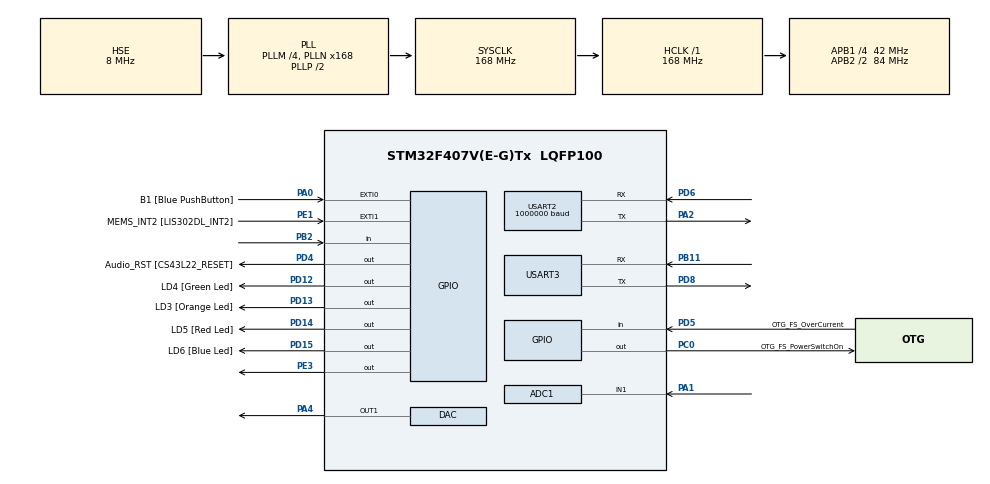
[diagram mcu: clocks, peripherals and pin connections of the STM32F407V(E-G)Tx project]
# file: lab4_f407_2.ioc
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ADC1.Channel-3\#ChannelRegularConversion=ADC_CHANNEL_1
ADC1.ClockPrescaler=ADC_CLOCK_SYNC_PCLK_DIV4
ADC1.ContinuousConvMode=ENABLE
ADC1.DMAContinuousRequests=ENABLE
ADC1.NbrOfConversionFlag=1
ADC1.Rank-3\#ChannelRegularConversion=1
ADC1.Resolution=ADC_RESOLUTION_12B
ADC1.SamplingTime-3\#ChannelRegularConversion=ADC_SAMPLETIME_3CYCLES
ADC1.ScanConvMode=DISABLE
ADC1.master=1
DAC.DAC_Trigger=DAC_TRIGGER_T2_TRGO
Dma.ADC1.2.Direction=DMA_PERIPH_TO_MEMORY
Dma.ADC1.2.FIFOMode=DMA_FIFOMODE_DISABLE
Dma.ADC1.2.Instance=DMA2_Stream0
Dma.ADC1.2.MemDataAlignment=DMA_MDATAALIGN_HALFWORD
Dma.ADC1.2.MemInc=DMA_MINC_ENABLE
Dma.ADC1.2.Mode=DMA_CIRCULAR
Dma.ADC1.2.PeriphDataAlignment=DMA_PDATAALIGN_HALFWORD
Dma.ADC1.2.PeriphInc=DMA_PINC_DISABLE
Dma.ADC1.2.Priority=DMA_PRIORITY_LOW
Dma.DAC1.0.Direction=DMA_MEMORY_TO_PERIPH
Dma.DAC1.0.FIFOMode=DMA_FIFOMODE_DISABLE
Dma.DAC1.0.Instance=DMA1_Stream5
Dma.DAC1.0.MemDataAlignment=DMA_MDATAALIGN_WORD
Dma.DAC1.0.MemInc=DMA_MINC_ENABLE
Dma.DAC1.0.Mode=DMA_CIRCULAR
Dma.DAC1.0.PeriphDataAlignment=DMA_PDATAALIGN_WORD
Dma.DAC1.0.PeriphInc=DMA_PINC_DISABLE
Dma.DAC1.0.Priority=DMA_PRIORITY_HIGH
Dma.Request0=DAC1
Dma.Request1=USART2_TX
Dma.Request2=ADC1
Dma.USART2_TX.1.Direction=DMA_MEMORY_TO_PERIPH
Dma.USART2_TX.1.FIFOMode=DMA_FIFOMODE_DISABLE
Dma.USART2_TX.1.Instance=DMA1_Stream6
Dma.USART2_TX.1.MemDataAlignment=DMA_MDATAALIGN_BYTE
Dma.USART2_TX.1.MemInc=DMA_MINC_ENABLE
Dma.USART2_TX.1.Mode=DMA_CIRCULAR
Dma.USART2_TX.1.PeriphDataAlignment=DMA_PDATAALIGN_BYTE
Dma.USART2_TX.1.PeriphInc=DMA_PINC_DISABLE
Dma.USART2_TX.1.Priority=DMA_PRIORITY_LOW
Mcu.Family=STM32F4
Mcu.Name=STM32F407V(E-G)Tx
Mcu.Package=LQFP100
NVIC.DMA1_Stream5_IRQn=true\:0\:0\:false\:false\:true\:false\:true\:true
NVIC.DMA1_Stream6_IRQn=true\:0\:0\:false\:false\:true\:false\:true\:true
NVIC.DMA2_Stream0_IRQn=true\:0\:0\:false\:false\:true\:false\:true\:true
NVIC.PriorityGroup=NVIC_PRIORITYGROUP_2
NVIC.USART2_IRQn=true\:0\:0\:false\:false\:true\:true\:true\:true
NVIC.USART3_IRQn=true\:0\:0\:false\:false\:true\:true\:true\:true
PA0-WKUP.GPIO_Label=B1 [Blue PushButton]
PA0-WKUP.GPIO_ModeDefaultEXTI=GPIO_MODE_EVT_RISING
PA0-WKUP.GPIO_PuPd=GPIO_NOPULL
PA0-WKUP.Signal=GPXTI0
PA1.Signal=ADCx_IN1
PA10.GPIO_Label=OTG_FS_ID
PA10.GPIO_Mode=GPIO_MODE_AF_PP
PA10.GPIO_PuPd=GPIO_NOPULL
PA10.GPIO_Speed=GPIO_SPEED_FREQ_LOW
PA10.Signal=USB_OTG_FS_ID
PA11.GPIO_Label=OTG_FS_DM
PA11.GPIO_Mode=GPIO_MODE_AF_PP
PA11.GPIO_PuPd=GPIO_NOPULL
PA11.GPIO_Speed=GPIO_SPEED_FREQ_LOW
PA11.Signal=USB_OTG_FS_DM
PA12.GPIO_Label=OTG_FS_DP
PA12.GPIO_Mode=GPIO_MODE_AF_PP
PA12.GPIO_PuPd=GPIO_NOPULL
PA12.GPIO_Speed=GPIO_SPEED_FREQ_LOW
PA12.Signal=USB_OTG_FS_DP
PA13.GPIO_Label=SWDIO
PA13.Mode=Serial_Wire
PA13.Signal=SYS_JTMS-SWDIO
PA14.GPIO_Label=SWCLK
PA14.Mode=Serial_Wire
PA14.Signal=SYS_JTCK-SWCLK
PA2.Mode=Asynchronous
PA2.Signal=USART2_TX
PA4.Signal=COMP_DAC1_group
PA9.GPIO_Label=VBUS_FS
PA9.GPIO_Mode=GPIO_MODE_INPUT
PA9.GPIO_PuPd=GPIO_NOPULL
PA9.Signal=USB_OTG_FS_VBUS
PB10.GPIO_Label=CLK_IN [MP45DT02_CLK]
PB10.GPIO_Mode=GPIO_MODE_AF_PP
PB10.GPIO_PuPd=GPIO_NOPULL
PB10.GPIO_Speed=GPIO_SPEED_FREQ_LOW
PB10.Signal=I2S2_CK
PB11.Mode=Asynchronous
PB11.Signal=USART3_RX
PB2.Signal=GPIO_Input
PB3.GPIO_Label=SWO
PB3.Signal=SYS_JTDO-SWO
PB6.GPIO_Label=Audio_SCL [CS43L22_SCL]
PB6.GPIO_Mode=GPIO_MODE_AF_OD
PB6.GPIO_Pu=GPIO_PULLUP
PB6.GPIO_PuPd=GPIO_NOPULL
PB6.GPIO_Speed=GPIO_SPEED_FREQ_LOW
PB6.Signal=I2C1_SCL
PB9.GPIO_Label=Audio_SDA [CS43L22_SDA]
PB9.GPIO_Mode=GPIO_MODE_AF_OD
PB9.GPIO_Pu=GPIO_PULLUP
PB9.GPIO_PuPd=GPIO_NOPULL
PB9.GPIO_Speed=GPIO_SPEED_FREQ_LOW
PB9.Signal=I2C1_SDA
PC0.GPIO_Label=OTG_FS_PowerSwitchOn
PC0.GPIO_PuPd=GPIO_NOPULL
PC0.GPIO_Speed=GPIO_SPEED_FREQ_LOW
PC0.PinState=GPIO_PIN_SET
PC0.Signal=GPIO_Output
PC10.GPIO_Label=I2S3_SCK [CS43L22_SCLK]
PC10.GPIO_Mode=GPIO_MODE_AF_PP
PC10.GPIO_PuPd=GPIO_NOPULL
PC10.GPIO_Speed=GPIO_SPEED_FREQ_LOW
PC10.Signal=I2S3_CK
PC12.GPIO_Label=I2S3_SD [CS43L22_SDIN]
PC12.GPIO_Mode=GPIO_MODE_AF_PP
PC12.GPIO_PuPd=GPIO_NOPULL
PC12.GPIO_Speed=GPIO_SPEED_FREQ_LOW
PC12.Signal=I2S3_SD
PC14-OSC32_IN.GPIO_Label=PC14-OSC32_IN
PC14-OSC32_IN.Mode=LSE-External-Oscillator
PC14-OSC32_IN.Signal=RCC_OSC32_IN
PC15-OSC32_OUT.GPIO_Label=PC15-OSC32_OUT
PC15-OSC32_OUT.Mode=LSE-External-Oscillator
PC15-OSC32_OUT.Signal=RCC_OSC32_OUT
PC3.GPIO_Label=PDM_OUT [MP45DT02_DOUT]
PC3.GPIO_Mode=GPIO_MODE_AF_PP
PC3.GPIO_PuPd=GPIO_NOPULL
PC3.GPIO_Speed=GPIO_SPEED_FREQ_LOW
PC3.Signal=I2S2_SD
PC7.GPIO_Label=I2S3_MCK [CS43L22_MCLK]
PC7.GPIO_Mode=GPIO_MODE_AF_PP
PC7.GPIO_PuPd=GPIO_NOPULL
PC7.GPIO_Speed=GPIO_SPEED_FREQ_LOW
PC7.Signal=I2S3_MCK
PD12.GPIO_Label=LD4 [Green Led]
PD12.GPIO_PuPd=GPIO_NOPULL
PD12.GPIO_Speed=GPIO_SPEED_FREQ_LOW
PD12.Signal=GPIO_Output
PD13.GPIO_Label=LD3 [Orange Led]
PD13.GPIO_PuPd=GPIO_NOPULL
PD13.GPIO_Speed=GPIO_SPEED_FREQ_LOW
PD13.Signal=GPIO_Output
PD14.GPIO_Label=LD5 [Red Led]
PD14.GPIO_PuPd=GPIO_NOPULL
PD14.GPIO_Speed=GPIO_SPEED_FREQ_LOW
PD14.Signal=GPIO_Output
PD15.GPIO_Label=LD6 [Blue Led]
PD15.GPIO_PuPd=GPIO_NOPULL
PD15.GPIO_Speed=GPIO_SPEED_FREQ_LOW
PD15.Signal=GPIO_Output
PD4.GPIO_Label=Audio_RST [CS43L22_RESET]
PD4.GPIO_PuPd=GPIO_NOPULL
PD4.GPIO_Speed=GPIO_SPEED_FREQ_LOW
PD4.Signal=GPIO_Output
PD5.GPIO_Label=OTG_FS_OverCurrent
PD5.GPIO_Mode=GPIO_MODE_INPUT
PD5.GPIO_PuPd=GPIO_NOPULL
PD5.Signal=GPIO_Input
PD6.Mode=Asynchronous
PD6.Signal=USART2_RX
PD8.Mode=Asynchronous
PD8.Signal=USART3_TX
PE1.GPIO_Label=MEMS_INT2 [LIS302DL_INT2]
PE1.GPIO_ModeDefaultEXTI=GPIO_MODE_EVT_RISING
PE1.GPIO_PuPd=GPIO_NOPULL
PE1.Signal=GPXTI1
PE3.Signal=GPIO_Output
PH0-OSC_IN.GPIO_Label=PH0-OSC_IN
PH0-OSC_IN.Mode=HSE-External-Oscillator
PH0-OSC_IN.Signal=RCC_OSC_IN
PH1-OSC_OUT.GPIO_Label=PH1-OSC_OUT
PH1-OSC_OUT.Mode=HSE-External-Oscillator
PH1-OSC_OUT.Signal=RCC_OSC_OUT
ProjectManager.HeapSize=0x200
ProjectManager.StackSize=0x400
ProjectManager.TargetToolchain=STM32CubeIDE
RCC.48MHZClocksFreq_Value=48000000
RCC.AHBFreq_Value=168000000
RCC.APB1CLKDivider=RCC_HCLK_DIV4
RCC.APB1Freq_Value=42000000
RCC.APB1TimFreq_Value=84000000
RCC.APB2CLKDivider=RCC_HCLK_DIV2
RCC.APB2Freq_Value=84000000
RCC.APB2TimFreq_Value=168000000
RCC.CortexFreq_Value=168000000
RCC.HCLKFreq_Value=168000000
RCC.HSE_VALUE=8000000
RCC.HSI_VALUE=16000000
RCC.PLLM=4
RCC.PLLN=168
RCC.PLLQ=7
RCC.PLLSourceVirtual=RCC_PLLSOURCE_HSE
RCC.SYSCLKFreq_VALUE=168000000
RCC.SYSCLKSource=RCC_SYSCLKSOURCE_PLLCLK
RCC.VCOOutputFreq_Value=336000000
SH.ADCx_IN1.0=ADC2_IN1
SH.ADCx_IN1.1=ADC1_IN1,IN1
SH.COMP_DAC1_group.0=DAC_OUT1,DAC_OUT1
TIM2.Period=100-1
TIM2.Prescaler=84-1
TIM2.TIM_MasterOutputTrigger=TIM_TRGO_UPDATE
USART2.BaudRate=1000000
USART2.Parity=PARITY_NONE
USART2.VirtualMode=VM_ASYNC
USART3.VirtualMode=VM_ASYNC
VP_TIM2_VS_ClockSourceINT.Mode=Internal
board=STM32F407G-DISC1

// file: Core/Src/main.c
/* USER CODE BEGIN Header */
/**
  ******************************************************************************
  * @file           : main.c
  * @brief          : Main program body
  ******************************************************************************
  * @attention
  *
  * Copyright (c) 2024 STMicroelectronics.
  * All rights reserved.
  *
  * This software is licensed under terms that can be found in the LICENSE file
  * in the root directory of this software component.
  * If no LICENSE file comes with this software, it is provided AS-IS.
  *
  ******************************************************************************
  */
/* USER CODE END Header */
#include "main.h"

/* USER CODE BEGIN Includes */
#include "math.h"
#include "string.h"
#include "stdio.h"
#include "protocol.h"
/* USER CODE END Includes */

/* USER CODE BEGIN PD */
#define SINE_N_SAMPLE 100
#define FIXED_POINT_FRACTIONAL_BITS 8
#define ADC_BUF_LEN 100
#define TIMER_TRIG_FREQ  1000000
/* USER CODE END PD */

 ADC_HandleTypeDef hadc1;
DMA_HandleTypeDef hdma_adc1;

DAC_HandleTypeDef hdac;
DMA_HandleTypeDef hdma_dac1;

TIM_HandleTypeDef htim2;

UART_HandleTypeDef huart2;
UART_HandleTypeDef huart3;
DMA_HandleTypeDef hdma_usart2_tx;

/* USER CODE BEGIN PV */
uint32_t y_sine_digital[SINE_N_SAMPLE];
uint16_t sine_table[SINE_N_SAMPLE];
char* msg = "Lorem ipsum dolor sit amet, consectetur adipiscing elit. Pellentesque dictum tempor ex ut luctus. Curabitur vel placerat nulla. Phasellus mattis dolor eget semper venenatis. Pellentesque semper porttitor justo, at rhoncus orci sollicitudin vitae. Maecenas porttitor ante sed turpis lacinia eleifend. Nulla molestie mauris id urna aliquam fringilla. Sed scelerisque dignissim finibus. In hac habitasse platea dictumst. Donec ac quam at velit luctus malesuada eget vel nisi. Sed eget ante eleifend, scelerisque leo id, tincidunt leo. Mauris blandit interdum pretium. Aliquam egestas risus id nisl finibus malesuada. Praesent sed pellentesque ipsum.\r\n";
uint16_t adc_buf[ADC_BUF_LEN];
/* USER CODE END PV */

void SystemClock_Config(void);
static void MX_GPIO_Init(void);
static void MX_DMA_Init(void);
static void MX_DAC_Init(void);
static void MX_TIM2_Init(void);
static void MX_ADC1_Init(void);
static void MX_USART2_UART_Init(void);
static void MX_USART3_UART_Init(void);
/* USER CODE BEGIN PFP */
void DMA_TransferComplete(DMA_HandleTypeDef *hdma);
/* USER CODE END PFP */

/* USER CODE BEGIN 0 */
void init_sine_table() {
    for (size_t i = 0; i < SINE_N_SAMPLE; i++) {
        double angle = 2 * M_PI * i / SINE_N_SAMPLE;
        sine_table[i] = (sin(angle) + 1) * (1 << FIXED_POINT_FRACTIONAL_BITS) / 2;
    }
}
void init_y_sine_digital(double V_max) {
    if (V_max > 3.3) V_max = 3.3;
    if (V_max < 0) V_max = 0.0;

    uint16_t V_max_digital = (V_max / 3.3) * 0xFFF;

    for (size_t i = 0; i < SINE_N_SAMPLE; i++) {
        y_sine_digital[i] = (sine_table[i] * V_max_digital) >> FIXED_POINT_FRACTIONAL_BITS;
    }
}

void change_freq(float freq) {
  uint16_t reload_value = TIMER_TRIG_FREQ/(freq*SINE_N_SAMPLE);
  __HAL_TIM_SET_AUTORELOAD(&htim2, reload_value - 1);
  __HAL_TIM_SET_COUNTER(&htim2, 0);
}

// Callback: UART Read 1 byte new
void HAL_UART_RxCpltCallback(UART_HandleTypeDef *huart)
{
  if (huart->Instance == huart3.Instance)
  {
      UART_RX_Callback(huart);
  }
}

/* USER CODE END 0 */

int main(void)
{
  /* USER CODE BEGIN 1 */
  change_freq_ptr = &change_freq;
  change_A_ptr = &init_y_sine_digital;
  /* USER CODE END 1 */

  /* MCU Configuration--------------------------------------------------------*/

  /* Reset of all peripherals, Initializes the Flash interface and the Systick. */
  HAL_Init();

  /* Configure the system clock */
  SystemClock_Config();

  /* Initialize all configured peripherals */
  MX_GPIO_Init();
  MX_DMA_Init();
  MX_DAC_Init();
  MX_TIM2_Init();
  MX_ADC1_Init();
  MX_USART2_UART_Init();
  MX_USART3_UART_Init();
  /* USER CODE BEGIN 2 */

  init_sine_table();
  init_y_sine_digital(3.3);
  change_freq(100);

  __HAL_DMA_GET_COUNTER(&hdma_adc1);

  HAL_DAC_Start_DMA(&hdac, DAC_CHANNEL_1, (uint32_t*)y_sine_digital, SINE_N_SAMPLE, DAC_ALIGN_12B_R);
  HAL_TIM_Base_Start(&htim2);

//  HAL_DMA_RegisterCallback(&hdma_usart2_tx, HAL_DMA_XFER_CPLT_CB_ID,
//			   &DMA_TransferComplete);
  HAL_ADC_Start_DMA(&hadc1, (uint32_t*)adc_buf, ADC_BUF_LEN);

  HAL_UART_Transmit_DMA(&huart2, adc_buf, ADC_BUF_LEN*sizeof(uint16_t));

  HAL_UART_Receive_IT(&huart3, &tmp_rx_data, 1);

  /* USER CODE END 2 */

  /* Infinite loop */
  /* USER CODE BEGIN WHILE */
  while (1)
  {

//    huart2.Instance->CR3 |= USART_CR3_DMAT;
//    HAL_DMA_Start_IT(&hdma_usart2_tx, (uint32_t)msg, (uint32_t)&huart2.Instance->DR, strlen(msg));

//    HAL_UART_Transmit_DMA(&huart2, adc_buf, ADC_BUF_LEN);
//    HAL_Delay(1000);
//    HAL_UART_DMAStop(&huart2);
//    HAL_Delay(1000);
    /* USER CODE END WHILE */

  }
}

void SystemClock_Config(void)
{
  RCC_OscInitTypeDef RCC_OscInitStruct = {0};
  RCC_ClkInitTypeDef RCC_ClkInitStruct = {0};

  /** Configure the main internal regulator output voltage
  */
  __HAL_RCC_PWR_CLK_ENABLE();
  __HAL_PWR_VOLTAGESCALING_CONFIG(PWR_REGULATOR_VOLTAGE_SCALE1);

  /** Initializes the RCC Oscillators according to the specified parameters
  * in the RCC_OscInitTypeDef structure.
  */
  RCC_OscInitStruct.OscillatorType = RCC_OSCILLATORTYPE_HSE;
  RCC_OscInitStruct.HSEState = RCC_HSE_ON;
  RCC_OscInitStruct.PLL.PLLState = RCC_PLL_ON;
  RCC_OscInitStruct.PLL.PLLSource = RCC_PLLSOURCE_HSE;
  RCC_OscInitStruct.PLL.PLLM = 4;
  RCC_OscInitStruct.PLL.PLLN = 168;
  RCC_OscInitStruct.PLL.PLLP = RCC_PLLP_DIV2;
  RCC_OscInitStruct.PLL.PLLQ = 7;
  if (HAL_RCC_OscConfig(&RCC_OscInitStruct) != HAL_OK)
  {
    Error_Handler();
  }

  /** Initializes the CPU, AHB and APB buses clocks
  */
  RCC_ClkInitStruct.ClockType = RCC_CLOCKTYPE_HCLK|RCC_CLOCKTYPE_SYSCLK
                              |RCC_CLOCKTYPE_PCLK1|RCC_CLOCKTYPE_PCLK2;
  RCC_ClkInitStruct.SYSCLKSource = RCC_SYSCLKSOURCE_PLLCLK;
  RCC_ClkInitStruct.AHBCLKDivider = RCC_SYSCLK_DIV1;
  RCC_ClkInitStruct.APB1CLKDivider = RCC_HCLK_DIV4;
  RCC_ClkInitStruct.APB2CLKDivider = RCC_HCLK_DIV2;

  if (HAL_RCC_ClockConfig(&RCC_ClkInitStruct, FLASH_LATENCY_5) != HAL_OK)
  {
    Error_Handler();
  }
}

static void MX_ADC1_Init(void)
{

  ADC_ChannelConfTypeDef sConfig = {0};

  /** Configure the global features of the ADC (Clock, Resolution, Data Alignment and number of conversion)
  */
  hadc1.Instance = ADC1;
  hadc1.Init.ClockPrescaler = ADC_CLOCK_SYNC_PCLK_DIV4;
  hadc1.Init.Resolution = ADC_RESOLUTION_12B;
  hadc1.Init.ScanConvMode = DISABLE;
  hadc1.Init.ContinuousConvMode = ENABLE;
  hadc1.Init.DiscontinuousConvMode = DISABLE;
  hadc1.Init.ExternalTrigConvEdge = ADC_EXTERNALTRIGCONVEDGE_NONE;
  hadc1.Init.ExternalTrigConv = ADC_SOFTWARE_START;
  hadc1.Init.DataAlign = ADC_DATAALIGN_RIGHT;
  hadc1.Init.NbrOfConversion = 1;
  hadc1.Init.DMAContinuousRequests = ENABLE;
  hadc1.Init.EOCSelection = ADC_EOC_SINGLE_CONV;
  if (HAL_ADC_Init(&hadc1) != HAL_OK)
  {
    Error_Handler();
  }

  /** Configure for the selected ADC regular channel its corresponding rank in the sequencer and its sample time.
  */
  sConfig.Channel = ADC_CHANNEL_1;
  sConfig.Rank = 1;
  sConfig.SamplingTime = ADC_SAMPLETIME_3CYCLES;
  if (HAL_ADC_ConfigChannel(&hadc1, &sConfig) != HAL_OK)
  {
    Error_Handler();
  }

}

static void MX_DAC_Init(void)
{

  DAC_ChannelConfTypeDef sConfig = {0};

  /** DAC Initialization
  */
  hdac.Instance = DAC;
  if (HAL_DAC_Init(&hdac) != HAL_OK)
  {
    Error_Handler();
  }

  /** DAC channel OUT1 config
  */
  sConfig.DAC_Trigger = DAC_TRIGGER_T2_TRGO;
  sConfig.DAC_OutputBuffer = DAC_OUTPUTBUFFER_ENABLE;
  if (HAL_DAC_ConfigChannel(&hdac, &sConfig, DAC_CHANNEL_1) != HAL_OK)
  {
    Error_Handler();
  }

}

static void MX_TIM2_Init(void)
{

  TIM_ClockConfigTypeDef sClockSourceConfig = {0};
  TIM_MasterConfigTypeDef sMasterConfig = {0};

  htim2.Instance = TIM2;
  htim2.Init.Prescaler = 84-1;
  htim2.Init.CounterMode = TIM_COUNTERMODE_UP;
  htim2.Init.Period = 100-1;
  htim2.Init.ClockDivision = TIM_CLOCKDIVISION_DIV1;
  htim2.Init.AutoReloadPreload = TIM_AUTORELOAD_PRELOAD_DISABLE;
  if (HAL_TIM_Base_Init(&htim2) != HAL_OK)
  {
    Error_Handler();
  }
  sClockSourceConfig.ClockSource = TIM_CLOCKSOURCE_INTERNAL;
  if (HAL_TIM_ConfigClockSource(&htim2, &sClockSourceConfig) != HAL_OK)
  {
    Error_Handler();
  }
  sMasterConfig.MasterOutputTrigger = TIM_TRGO_UPDATE;
  sMasterConfig.MasterSlaveMode = TIM_MASTERSLAVEMODE_DISABLE;
  if (HAL_TIMEx_MasterConfigSynchronization(&htim2, &sMasterConfig) != HAL_OK)
  {
    Error_Handler();
  }

}

static void MX_USART2_UART_Init(void)
{

  huart2.Instance = USART2;
  huart2.Init.BaudRate = 1000000;
  huart2.Init.WordLength = UART_WORDLENGTH_8B;
  huart2.Init.StopBits = UART_STOPBITS_1;
  huart2.Init.Parity = UART_PARITY_NONE;
  huart2.Init.Mode = UART_MODE_TX_RX;
  huart2.Init.HwFlowCtl = UART_HWCONTROL_NONE;
  huart2.Init.OverSampling = UART_OVERSAMPLING_16;
  if (HAL_UART_Init(&huart2) != HAL_OK)
  {
    Error_Handler();
  }

}

static void MX_USART3_UART_Init(void)
{

  huart3.Instance = USART3;
  huart3.Init.BaudRate = 115200;
  huart3.Init.WordLength = UART_WORDLENGTH_8B;
  huart3.Init.StopBits = UART_STOPBITS_1;
  huart3.Init.Parity = UART_PARITY_NONE;
  huart3.Init.Mode = UART_MODE_TX_RX;
  huart3.Init.HwFlowCtl = UART_HWCONTROL_NONE;
  huart3.Init.OverSampling = UART_OVERSAMPLING_16;
  if (HAL_UART_Init(&huart3) != HAL_OK)
  {
    Error_Handler();
  }

}

static void MX_DMA_Init(void)
{

  /* DMA controller clock enable */
  __HAL_RCC_DMA1_CLK_ENABLE();
  __HAL_RCC_DMA2_CLK_ENABLE();

  /* DMA interrupt init */
  /* DMA1_Stream5_IRQn interrupt configuration */
  HAL_NVIC_SetPriority(DMA1_Stream5_IRQn, 0, 0);
  HAL_NVIC_EnableIRQ(DMA1_Stream5_IRQn);
  /* DMA1_Stream6_IRQn interrupt configuration */
  HAL_NVIC_SetPriority(DMA1_Stream6_IRQn, 0, 0);
  HAL_NVIC_EnableIRQ(DMA1_Stream6_IRQn);
  /* DMA2_Stream0_IRQn interrupt configuration */
  HAL_NVIC_SetPriority(DMA2_Stream0_IRQn, 0, 0);
  HAL_NVIC_EnableIRQ(DMA2_Stream0_IRQn);

}

static void MX_GPIO_Init(void)
{
  GPIO_InitTypeDef GPIO_InitStruct = {0};

  /* GPIO Ports Clock Enable */
  __HAL_RCC_GPIOE_CLK_ENABLE();
  __HAL_RCC_GPIOC_CLK_ENABLE();
  __HAL_RCC_GPIOH_CLK_ENABLE();
  __HAL_RCC_GPIOA_CLK_ENABLE();
  __HAL_RCC_GPIOB_CLK_ENABLE();
  __HAL_RCC_GPIOD_CLK_ENABLE();

  /*Configure GPIO pin Output Level */
  HAL_GPIO_WritePin(GPIOE, GPIO_PIN_3, GPIO_PIN_RESET);

  /*Configure GPIO pin Output Level */
  HAL_GPIO_WritePin(OTG_FS_PowerSwitchOn_GPIO_Port, OTG_FS_PowerSwitchOn_Pin, GPIO_PIN_SET);

  /*Configure GPIO pin Output Level */
  HAL_GPIO_WritePin(GPIOD, LD4_Pin|LD3_Pin|LD5_Pin|LD6_Pin
                          |Audio_RST_Pin, GPIO_PIN_RESET);

  /*Configure GPIO pin : PE3 */
  GPIO_InitStruct.Pin = GPIO_PIN_3;
  GPIO_InitStruct.Mode = GPIO_MODE_OUTPUT_PP;
  GPIO_InitStruct.Pull = GPIO_NOPULL;
  GPIO_InitStruct.Speed = GPIO_SPEED_FREQ_LOW;
  HAL_GPIO_Init(GPIOE, &GPIO_InitStruct);

  /*Configure GPIO pin : OTG_FS_PowerSwitchOn_Pin */
  GPIO_InitStruct.Pin = OTG_FS_PowerSwitchOn_Pin;
  GPIO_InitStruct.Mode = GPIO_MODE_OUTPUT_PP;
  GPIO_InitStruct.Pull = GPIO_NOPULL;
  GPIO_InitStruct.Speed = GPIO_SPEED_FREQ_LOW;
  HAL_GPIO_Init(OTG_FS_PowerSwitchOn_GPIO_Port, &GPIO_InitStruct);

  /*Configure GPIO pin : PDM_OUT_Pin */
  GPIO_InitStruct.Pin = PDM_OUT_Pin;
  GPIO_InitStruct.Mode = GPIO_MODE_AF_PP;
  GPIO_InitStruct.Pull = GPIO_NOPULL;
  GPIO_InitStruct.Speed = GPIO_SPEED_FREQ_LOW;
  GPIO_InitStruct.Alternate = GPIO_AF5_SPI2;
  HAL_GPIO_Init(PDM_OUT_GPIO_Port, &GPIO_InitStruct);

  /*Configure GPIO pin : B1_Pin */
  GPIO_InitStruct.Pin = B1_Pin;
  GPIO_InitStruct.Mode = GPIO_MODE_EVT_RISING;
  GPIO_InitStruct.Pull = GPIO_NOPULL;
  HAL_GPIO_Init(B1_GPIO_Port, &GPIO_InitStruct);

  /*Configure GPIO pin : PA1 */
  GPIO_InitStruct.Pin = GPIO_PIN_1;
  GPIO_InitStruct.Mode = GPIO_MODE_ANALOG;
  GPIO_InitStruct.Pull = GPIO_NOPULL;
  HAL_GPIO_Init(GPIOA, &GPIO_InitStruct);

  /*Configure GPIO pin : PB2 */
  GPIO_InitStruct.Pin = GPIO_PIN_2;
  GPIO_InitStruct.Mode = GPIO_MODE_INPUT;
  GPIO_InitStruct.Pull = GPIO_NOPULL;
  HAL_GPIO_Init(GPIOB, &GPIO_InitStruct);

  /*Configure GPIO pin : CLK_IN_Pin */
  GPIO_InitStruct.Pin = CLK_IN_Pin;
  GPIO_InitStruct.Mode = GPIO_MODE_AF_PP;
  GPIO_InitStruct.Pull = GPIO_NOPULL;
  GPIO_InitStruct.Speed = GPIO_SPEED_FREQ_LOW;
  GPIO_InitStruct.Alternate = GPIO_AF5_SPI2;
  HAL_GPIO_Init(CLK_IN_GPIO_Port, &GPIO_InitStruct);

  /*Configure GPIO pins : LD4_Pin LD3_Pin LD5_Pin LD6_Pin
                           Audio_RST_Pin */
  GPIO_InitStruct.Pin = LD4_Pin|LD3_Pin|LD5_Pin|LD6_Pin
                          |Audio_RST_Pin;
  GPIO_InitStruct.Mode = GPIO_MODE_OUTPUT_PP;
  GPIO_InitStruct.Pull = GPIO_NOPULL;
  GPIO_InitStruct.Speed = GPIO_SPEED_FREQ_LOW;
  HAL_GPIO_Init(GPIOD, &GPIO_InitStruct);

  /*Configure GPIO pins : I2S3_MCK_Pin I2S3_SCK_Pin I2S3_SD_Pin */
  GPIO_InitStruct.Pin = I2S3_MCK_Pin|I2S3_SCK_Pin|I2S3_SD_Pin;
  GPIO_InitStruct.Mode = GPIO_MODE_AF_PP;
  GPIO_InitStruct.Pull = GPIO_NOPULL;
  GPIO_InitStruct.Speed = GPIO_SPEED_FREQ_LOW;
  GPIO_InitStruct.Alternate = GPIO_AF6_SPI3;
  HAL_GPIO_Init(GPIOC, &GPIO_InitStruct);

  /*Configure GPIO pin : VBUS_FS_Pin */
  GPIO_InitStruct.Pin = VBUS_FS_Pin;
  GPIO_InitStruct.Mode = GPIO_MODE_INPUT;
  GPIO_InitStruct.Pull = GPIO_NOPULL;
  HAL_GPIO_Init(VBUS_FS_GPIO_Port, &GPIO_InitStruct);

  /*Configure GPIO pins : OTG_FS_ID_Pin OTG_FS_DM_Pin OTG_FS_DP_Pin */
  GPIO_InitStruct.Pin = OTG_FS_ID_Pin|OTG_FS_DM_Pin|OTG_FS_DP_Pin;
  GPIO_InitStruct.Mode = GPIO_MODE_AF_PP;
  GPIO_InitStruct.Pull = GPIO_NOPULL;
  GPIO_InitStruct.Speed = GPIO_SPEED_FREQ_LOW;
  GPIO_InitStruct.Alternate = GPIO_AF10_OTG_FS;
  HAL_GPIO_Init(GPIOA, &GPIO_InitStruct);

  /*Configure GPIO pin : OTG_FS_OverCurrent_Pin */
  GPIO_InitStruct.Pin = OTG_FS_OverCurrent_Pin;
  GPIO_InitStruct.Mode = GPIO_MODE_INPUT;
  GPIO_InitStruct.Pull = GPIO_NOPULL;
  HAL_GPIO_Init(OTG_FS_OverCurrent_GPIO_Port, &GPIO_InitStruct);

  /*Configure GPIO pins : Audio_SCL_Pin Audio_SDA_Pin */
  GPIO_InitStruct.Pin = Audio_SCL_Pin|Audio_SDA_Pin;
  GPIO_InitStruct.Mode = GPIO_MODE_AF_OD;
  GPIO_InitStruct.Pull = GPIO_PULLUP;
  GPIO_InitStruct.Speed = GPIO_SPEED_FREQ_LOW;
  GPIO_InitStruct.Alternate = GPIO_AF4_I2C1;
  HAL_GPIO_Init(GPIOB, &GPIO_InitStruct);

  /*Configure GPIO pin : MEMS_INT2_Pin */
  GPIO_InitStruct.Pin = MEMS_INT2_Pin;
  GPIO_InitStruct.Mode = GPIO_MODE_EVT_RISING;
  GPIO_InitStruct.Pull = GPIO_NOPULL;
  HAL_GPIO_Init(MEMS_INT2_GPIO_Port, &GPIO_InitStruct);

}

/* USER CODE BEGIN 4 */
void DMA_TransferComplete(DMA_HandleTypeDef *hdma) {

  // Disable UART DMA mode
//  huart2.Instance->CR3 &= ~USART_CR3_DMAT;

  // Toggle LD3
  HAL_GPIO_TogglePin(LD3_GPIO_Port, LD3_Pin);

}

// Called when first half of buffer is filled
void HAL_ADC_ConvHalfCpltCallback(ADC_HandleTypeDef* hadc) {

  HAL_GPIO_WritePin(LD3_GPIO_Port, LD3_Pin, GPIO_PIN_SET);

//  huart2.Instance->CR3 |= USART_CR3_DMAT;
//  HAL_DMA_Start_IT(&hdma_usart2_tx, (uint32_t)&adc_buf, (uint32_t)&huart2.Instance->DR, ADC_BUF_LEN/2);
//  HAL_UART_Transmit_DMA(&huart2, &adc_buf, ADC_BUF_LEN/2);
}

// Called when second half of buffer is filled
void HAL_ADC_ConvCpltCallback(ADC_HandleTypeDef* hadc) {
  HAL_GPIO_WritePin(LD3_GPIO_Port, LD3_Pin, GPIO_PIN_RESET);

//  huart2.Instance->CR3 |= USART_CR3_DMAT;
//  uint16_t* addr = &adc_buf + ADC_BUF_LEN/2;
//  HAL_DMA_Start_IT(&hdma_usart2_tx, (uint32_t)addr, (uint32_t)&huart2.Instance->DR, ADC_BUF_LEN/2);
//  HAL_UART_Transmit_DMA(&huart2, addr, ADC_BUF_LEN/2 - 1);
}

/* USER CODE END 4 */

void Error_Handler(void)
{
  __disable_irq();
  while (1)
  {
  }
}
